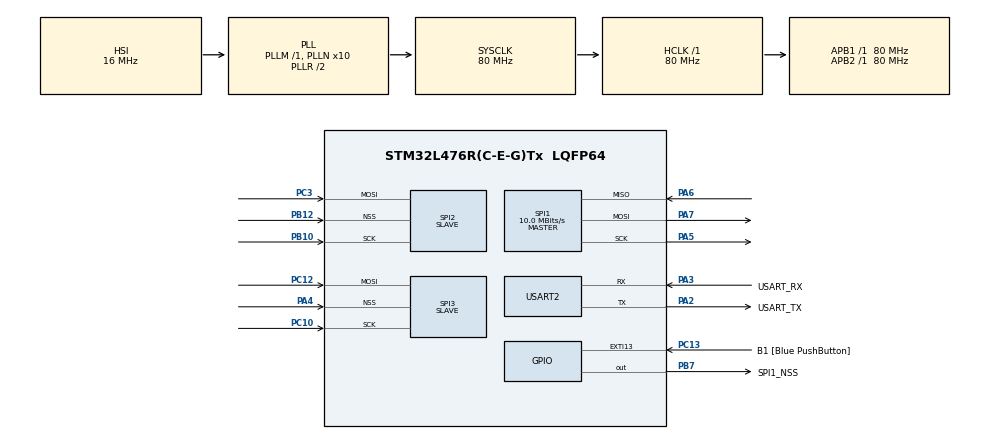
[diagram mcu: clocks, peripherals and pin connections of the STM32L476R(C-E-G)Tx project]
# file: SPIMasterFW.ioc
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Mcu.Family=STM32L4
PC3.Mode=RX_Only_Simplex_Unidirect_Slave
PA2.GPIO_PuPd=GPIO_NOPULL
Dma.SPI3_RX.3.Direction=DMA_PERIPH_TO_MEMORY
PA6.Mode=Full_Duplex_Master
Dma.SPI1_TX.0.MemInc=DMA_MINC_ENABLE
SPI2.VirtualNSS=VM_NSSHARD
Dma.SPI1_TX.0.PeriphInc=DMA_PINC_DISABLE
RCC.CortexFreq_Value=80000000
SPI3.Direction=SPI_DIRECTION_2LINES_RXONLY
Dma.SPI1_RX.1.Mode=DMA_NORMAL
SPI3.VirtualType=VM_SLAVE
SPI1.VirtualType=VM_MASTER
SPI2.VirtualType=VM_SLAVE
PB10.Mode=RX_Only_Simplex_Unidirect_Slave
PH0-OSC_IN\ (PH0).Signal=RCC_OSC_IN
PC10.Signal=SPI3_SCK
PC12.Signal=SPI3_MOSI
PA3.GPIO_PuPd=GPIO_NOPULL
PA2.GPIO_Speed=GPIO_SPEED_FREQ_VERY_HIGH
PC15-OSC32_OUT\ (PC15).Mode=LSE-External-Oscillator
PC13.GPIO_Label=B1 [Blue PushButton]
PA3.GPIO_Speed=GPIO_SPEED_FREQ_VERY_HIGH
RCC.SYSCLKSource=RCC_SYSCLKSOURCE_PLLCLK
ProjectManager.StackSize=0x400
PB3\ (JTDO-TRACESWO).Signal=SYS_JTDO-SWO
PC14-OSC32_IN\ (PC14).Mode=LSE-External-Oscillator
NVIC.DMA1_Channel3_IRQn=true\:0\:0\:false\:false\:true\:false\:true
PA14\ (JTCK-SWCLK).Signal=SYS_JTCK-SWCLK
PA4.Mode=NSS_Signal_Hard_Input
Dma.SPI1_RX.1.PeriphInc=DMA_PINC_DISABLE
Dma.SPI3_RX.3.MemDataAlignment=DMA_MDATAALIGN_BYTE
Dma.SPI2_RX.2.Direction=DMA_PERIPH_TO_MEMORY
SPI1.Direction=SPI_DIRECTION_2LINES
SPI3.VirtualNSS=VM_NSSHARD
RCC.HCLKFreq_Value=80000000
RCC.APB2TimFreq_Value=80000000
SPI1.CalculateBaudRate=10.0 MBits/s
PC3.Signal=SPI2_MOSI
RCC.AHBFreq_Value=80000000
RCC.PREFETCH_ENABLE=1
SPI3.DataSize=SPI_DATASIZE_8BIT
Dma.SPI2_RX.2.Instance=DMA1_Channel4
Dma.SPI2_RX.2.MemDataAlignment=DMA_MDATAALIGN_BYTE
RCC.HSE_VALUE=8000000
Dma.SPI3_RX.3.Mode=DMA_NORMAL
Dma.SPI1_RX.1.Priority=DMA_PRIORITY_LOW
Dma.SPI3_RX.3.Priority=DMA_PRIORITY_LOW
USART2.VirtualMode-Asynchronous=VM_ASYNC
Dma.SPI2_RX.2.PeriphInc=DMA_PINC_DISABLE
SPI1.DataSize=SPI_DATASIZE_8BIT
PC13.GPIO_PuPd=GPIO_NOPULL
PB7.Signal=GPIO_Output
Dma.SPI2_RX.2.PeriphDataAlignment=DMA_PDATAALIGN_BYTE
NVIC.SPI2_IRQn=true\:0\:0\:false\:false\:true\:true\:true
Dma.SPI1_RX.1.Direction=DMA_PERIPH_TO_MEMORY
PB7.PinState=GPIO_PIN_SET
PB7.GPIO_Label=SPI1_NSS
Dma.SPI1_TX.0.Mode=DMA_NORMAL
Mcu.Package=LQFP64
PA6.Signal=SPI1_MISO
PB12.Mode=NSS_Signal_Hard_Input
SPI2.Mode=SPI_MODE_SLAVE
SPI3.Mode=SPI_MODE_SLAVE
Dma.SPI2_RX.2.Priority=DMA_PRIORITY_LOW
Dma.SPI2_RX.2.MemInc=DMA_MINC_ENABLE
PA2.GPIO_Label=USART_TX
Dma.Request2=SPI2_RX
Dma.Request1=SPI1_RX
RCC.APB1TimFreq_Value=80000000
Dma.Request3=SPI3_RX
SPI2.Direction=SPI_DIRECTION_2LINES_RXONLY
NVIC.DMA1_Channel4_IRQn=true\:0\:0\:false\:false\:true\:false\:true
PA13\ (JTMS-SWDIO).Signal=SYS_JTMS-SWDIO
Dma.Request0=SPI1_TX
SPI1.BaudRatePrescaler=SPI_BAUDRATEPRESCALER_8
Dma.SPI1_RX.1.MemInc=DMA_MINC_ENABLE
PA3.Signal=USART2_RX
PA5.Mode=Full_Duplex_Master
PA2.GPIO_Mode=GPIO_MODE_AF_PP
Dma.SPI1_RX.1.Instance=DMA1_Channel2
RCC.MSI_VALUE=4000000
RCC.PLLSourceVirtual=RCC_PLLSOURCE_HSI
PA14\ (JTCK-SWCLK).Mode=Serial_Wire
PA7.Mode=Full_Duplex_Master
Dma.SPI1_RX.1.MemDataAlignment=DMA_MDATAALIGN_BYTE
PC13.Signal=GPXTI13
PC10.Mode=RX_Only_Simplex_Unidirect_Slave
PC15-OSC32_OUT\ (PC15).Signal=RCC_OSC32_OUT
PA14\ (JTCK-SWCLK).GPIO_Label=TCK
PB3\ (JTDO-TRACESWO).GPIO_Label=SWO
PH1-OSC_OUT\ (PH1).Signal=RCC_OSC_OUT
Dma.SPI2_RX.2.Mode=DMA_NORMAL
PA3.Mode=Asynchronous
Dma.SPI3_RX.3.MemInc=DMA_MINC_ENABLE
NVIC.DMA1_Channel2_IRQn=true\:0\:0\:false\:false\:true\:false\:true
ProjectManager.TargetToolchain=Makefile
PA3.GPIO_Mode=GPIO_MODE_AF_PP
Dma.SPI1_TX.0.PeriphDataAlignment=DMA_PDATAALIGN_BYTE
Dma.SPI1_TX.0.Direction=DMA_MEMORY_TO_PERIPH
Dma.SPI3_RX.3.PeriphInc=DMA_PINC_DISABLE
RCC.USBFreq_Value=64000000
PB10.Signal=SPI2_SCK
PA5.Signal=SPI1_SCK
PC12.Mode=RX_Only_Simplex_Unidirect_Slave
board=NUCLEO-L476RG
RCC.VCOOutputFreq_Value=160000000
NVIC.SPI1_IRQn=true\:0\:0\:false\:false\:true\:true\:true
RCC.APB2Freq_Value=80000000
PA13\ (JTMS-SWDIO).GPIO_Label=TMS
SPI1.Mode=SPI_MODE_MASTER
RCC.ADCFreq_Value=64000000
Dma.SPI1_TX.0.Instance=DMA1_Channel3
Mcu.Name=STM32L476R(C-E-G)Tx
SPI1.NSSPMode=SPI_NSS_PULSE_DISABLE
PA2.Signal=USART2_TX
Dma.SPI1_RX.1.PeriphDataAlignment=DMA_PDATAALIGN_BYTE
PA13\ (JTMS-SWDIO).Mode=Serial_Wire
PA4.Signal=SPI3_NSS
RCC.SYSCLKFreq_VALUE=80000000
PC13.GPIO_ModeDefaultEXTI=GPIO_MODE_IT_FALLING
PC14-OSC32_IN\ (PC14).Signal=RCC_OSC32_IN
NVIC.DMA2_Channel1_IRQn=true\:0\:0\:false\:false\:true\:false\:true
ProjectManager.HeapSize=0x200
Dma.SPI1_TX.0.MemDataAlignment=DMA_MDATAALIGN_BYTE
Dma.SPI1_TX.0.Priority=DMA_PRIORITY_LOW
Dma.SPI3_RX.3.PeriphDataAlignment=DMA_PDATAALIGN_BYTE
RCC.HSI_VALUE=16000000
NVIC.PriorityGroup=NVIC_PRIORITYGROUP_4
RCC.PLLN=10
PA2.Mode=Asynchronous
Dma.SPI3_RX.3.Instance=DMA2_Channel1
SPI2.DataSize=SPI_DATASIZE_8BIT
RCC.APB1Freq_Value=80000000
PB12.Signal=SPI2_NSS
PA3.GPIO_Label=USART_RX
PA7.Signal=SPI1_MOSI

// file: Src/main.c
/* USER CODE BEGIN Header */
/**
  ******************************************************************************
  * @file           : main.c
  * @brief          : Main program body
  ******************************************************************************
  * @attention
  *
  * <h2><center>&copy; Copyright (c) 2021 STMicroelectronics.
  * All rights reserved.</center></h2>
  *
  * This software component is licensed by ST under BSD 3-Clause license,
  * the "License"; You may not use this file except in compliance with the
  * License. You may obtain a copy of the License at:
  *                        opensource.org/licenses/BSD-3-Clause
  *
  ******************************************************************************
  */
/* USER CODE END Header */
#include "main.h"
#include "dma.h"
#include "spi.h"
#include "usart.h"
#include "gpio.h"

/* USER CODE BEGIN PTD */
enum {
  TRANSFER_WAIT,
  TRANSFER_COMPLETE,
  TRANSFER_ERROR
};

/* USER CODE END PTD */

/* USER CODE BEGIN PD */
#define BUF_SIZE 40
/* USER CODE END PD */

/* USER CODE BEGIN PV */
uint8_t txBuffer[BUF_SIZE] = {
  1, 2, 3, 4, 5, 6, 7, 8, 9, 10,
  11, 12, 13, 14, 15, 16, 17, 18, 19, 20,
  21, 22, 23, 24, 25, 26, 27, 28, 29, 30,
  31, 32, 33, 34, 35, 36, 37, 38, 39, 40,
};
uint8_t rxBuffer[BUF_SIZE] = {0};
uint8_t rxBuffer2[BUF_SIZE] = {0};
uint8_t rxBuffer3[BUF_SIZE] = {0};

__IO uint32_t wTransferState = TRANSFER_WAIT;
__IO uint32_t wReceiveState2 = TRANSFER_WAIT;
__IO uint32_t wReceiveState3 = TRANSFER_WAIT;

uint8_t correctDataForRX2[BUF_SIZE] = {
  0, 1, 2, 3, 4, 5, 6, 7, 8, 9,
  10, 11, 12, 13, 14, 15, 16, 17, 18, 19,
  20, 21, 22, 23, 24, 25, 26, 27, 28, 29,
  30, 31, 32, 33, 34, 35, 36, 37, 38, 39
};
uint8_t correctDataForRX3[BUF_SIZE] = {
  1, 2, 3, 4, 5, 6, 7, 8, 9, 10,
  11, 12, 13, 14, 15, 16, 17, 18, 19, 20,
  21, 22, 23, 24, 25, 26, 27, 28, 29, 30,
  31, 32, 33, 34, 35, 36, 37, 38, 39, 40,
};
uint8_t correctDataForRX[BUF_SIZE] = {
  1, 2, 3, 4, 5, 6, 7, 8, 9, 10,
  11, 12, 13, 14, 15, 16, 17, 18, 19, 20,
  21, 22, 23, 24, 25, 26, 27, 28, 29, 30,
  31, 32, 33, 34, 35, 36, 37, 38, 39, 40,
};
/* USER CODE END PV */

void SystemClock_Config(void);
/* USER CODE BEGIN PFP */
static int dataValitation(uint8_t* target, uint8_t* reference);
/* USER CODE END PFP */

int main(void)
{

  /* MCU Configuration--------------------------------------------------------*/

  /* Reset of all peripherals, Initializes the Flash interface and the Systick. */
  HAL_Init();

  /* Configure the system clock */
  SystemClock_Config();

  /* Initialize all configured peripherals */
  MX_GPIO_Init();
  MX_DMA_Init();
  MX_SPI1_Init();
  MX_USART2_UART_Init();
  MX_SPI2_Init();
  MX_SPI3_Init();
  /* USER CODE BEGIN 2 */
  HAL_SPI_Receive_DMA(&hspi2, rxBuffer2, sizeof(rxBuffer2));
  HAL_SPI_Receive_DMA(&hspi3, rxBuffer3, sizeof(rxBuffer3));

  /* USER CODE END 2 */

  /* Infinite loop */
  /* USER CODE BEGIN WHILE */
  while (1)
  {
    wTransferState = TRANSFER_WAIT;

    HAL_GPIO_WritePin(SPI1_NSS_GPIO_Port, SPI1_NSS_Pin, GPIO_PIN_RESET);

    HAL_SPI_TransmitReceive_DMA(&hspi1, txBuffer, rxBuffer, sizeof(txBuffer));

    while(wTransferState == TRANSFER_WAIT);

    HAL_GPIO_WritePin(SPI1_NSS_GPIO_Port, SPI1_NSS_Pin, GPIO_PIN_SET);

    while(wReceiveState2 == TRANSFER_WAIT || wReceiveState3 == TRANSFER_WAIT);

    HAL_SPI_Receive_DMA(&hspi2, rxBuffer2, sizeof(rxBuffer2));
    HAL_SPI_Receive_DMA(&hspi3, rxBuffer3, sizeof(rxBuffer3));
    wReceiveState2 = TRANSFER_WAIT;
    wReceiveState3 = TRANSFER_WAIT;

    int validate = dataValitation(rxBuffer, correctDataForRX);
    int validate2 = dataValitation(rxBuffer2, correctDataForRX2);
    int validate3 = dataValitation(rxBuffer3, correctDataForRX3);

    if(!(validate == 0 && validate2 == 0 && validate3 == 0)){
      Error_Handler();
    }

    HAL_Delay(2);

    /* USER CODE END WHILE */

  }
}

void SystemClock_Config(void)
{
  RCC_OscInitTypeDef RCC_OscInitStruct = {0};
  RCC_ClkInitTypeDef RCC_ClkInitStruct = {0};
  RCC_PeriphCLKInitTypeDef PeriphClkInit = {0};

  /** Initializes the RCC Oscillators according to the specified parameters
  * in the RCC_OscInitTypeDef structure.
  */
  RCC_OscInitStruct.OscillatorType = RCC_OSCILLATORTYPE_HSI;
  RCC_OscInitStruct.HSIState = RCC_HSI_ON;
  RCC_OscInitStruct.HSICalibrationValue = RCC_HSICALIBRATION_DEFAULT;
  RCC_OscInitStruct.PLL.PLLState = RCC_PLL_ON;
  RCC_OscInitStruct.PLL.PLLSource = RCC_PLLSOURCE_HSI;
  RCC_OscInitStruct.PLL.PLLM = 1;
  RCC_OscInitStruct.PLL.PLLN = 10;
  RCC_OscInitStruct.PLL.PLLP = RCC_PLLP_DIV7;
  RCC_OscInitStruct.PLL.PLLQ = RCC_PLLQ_DIV2;
  RCC_OscInitStruct.PLL.PLLR = RCC_PLLR_DIV2;
  if (HAL_RCC_OscConfig(&RCC_OscInitStruct) != HAL_OK)
  {
    Error_Handler();
  }
  /** Initializes the CPU, AHB and APB buses clocks
  */
  RCC_ClkInitStruct.ClockType = RCC_CLOCKTYPE_HCLK|RCC_CLOCKTYPE_SYSCLK
                              |RCC_CLOCKTYPE_PCLK1|RCC_CLOCKTYPE_PCLK2;
  RCC_ClkInitStruct.SYSCLKSource = RCC_SYSCLKSOURCE_PLLCLK;
  RCC_ClkInitStruct.AHBCLKDivider = RCC_SYSCLK_DIV1;
  RCC_ClkInitStruct.APB1CLKDivider = RCC_HCLK_DIV1;
  RCC_ClkInitStruct.APB2CLKDivider = RCC_HCLK_DIV1;

  if (HAL_RCC_ClockConfig(&RCC_ClkInitStruct, FLASH_LATENCY_4) != HAL_OK)
  {
    Error_Handler();
  }
  PeriphClkInit.PeriphClockSelection = RCC_PERIPHCLK_USART2;
  PeriphClkInit.Usart2ClockSelection = RCC_USART2CLKSOURCE_PCLK1;
  if (HAL_RCCEx_PeriphCLKConfig(&PeriphClkInit) != HAL_OK)
  {
    Error_Handler();
  }
  /** Configure the main internal regulator output voltage
  */
  if (HAL_PWREx_ControlVoltageScaling(PWR_REGULATOR_VOLTAGE_SCALE1) != HAL_OK)
  {
    Error_Handler();
  }
}

/* USER CODE BEGIN 4 */
void HAL_SPI_TxRxCpltCallback(SPI_HandleTypeDef* hspi)
{
  if(hspi == &hspi1){
    wTransferState = TRANSFER_COMPLETE;
//    HAL_SPI_Receive_DMA(&hspi2, rxBuffer2, sizeof(rxBuffer2));
//    HAL_SPI_Receive_DMA(&hspi3, rxBuffer3, sizeof(rxBuffer3));
  }
}
void HAL_SPI_RxCpltCallback(SPI_HandleTypeDef* hspi)
{
  if(hspi == &hspi2){
    wReceiveState2 = TRANSFER_COMPLETE;
  }else if(hspi == &hspi3){
    wReceiveState3 = TRANSFER_COMPLETE;
  }
}

int dataValitation(uint8_t* target, uint8_t* reference)
{
  int result = 0;
  for(int i = 0; i < BUF_SIZE; i++){
    if(target[i] != reference[i]){
      result = 1;
      break;
    }
  }
  return result;
}
/* USER CODE END 4 */

void Error_Handler(void)
{
  __disable_irq();
  while (1)
  {
  }
}

/************************ (C) COPYRIGHT STMicroelectronics *****END OF FILE****/
